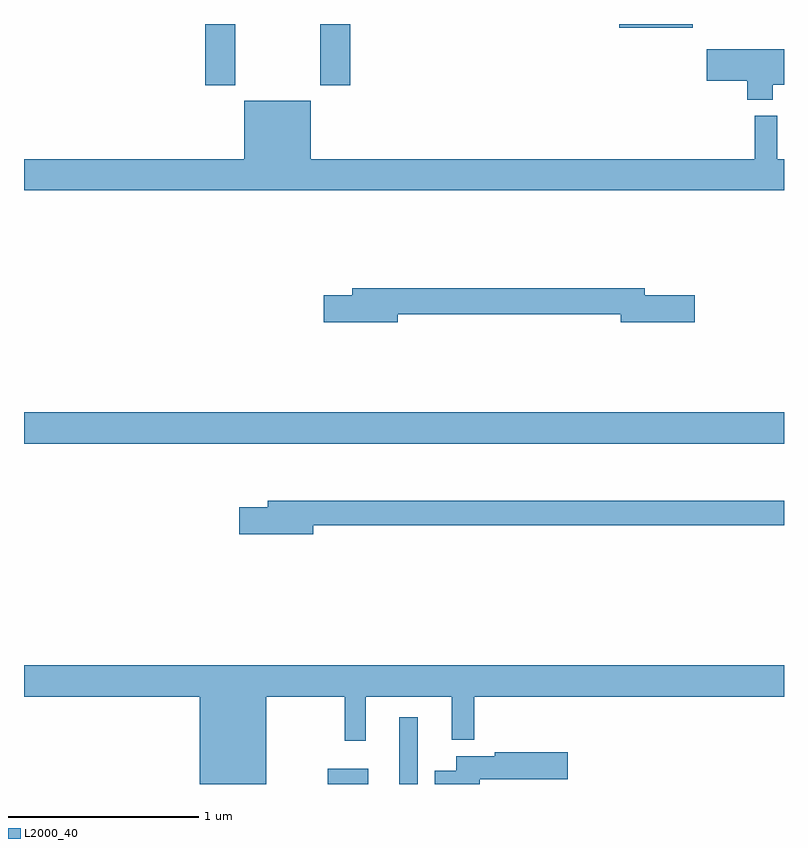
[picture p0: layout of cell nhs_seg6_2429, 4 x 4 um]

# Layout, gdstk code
import gdstk
lib = gdstk.Library(unit=1e-6, precision=1e-09)
def R(c, l, rs):  # rectangles x0, y0, x1, y1
    for r in rs: c.add(gdstk.rectangle(r[:2], r[2:], *l))
def P(c, l, *ps):  # polygons
    for p in ps: c.add(gdstk.Polygon(p, *l))
L2000_40 = (2000, 40)

nhs_seg6_2429 = lib.new_cell('nhs_seg6_2429')
R(nhs_seg6_2429, L2000_40, [(256.598,989.5,256.813,989.581), (256.976,989.5,257.073,989.851), (255,991.292,259,991.456), (255.953,993.177,256.113,993.5), (256.558,993.177,256.718,993.5), (258.132,993.479,258.52,993.5)])
P(nhs_seg6_2429, L2000_40, [(258.94,993.179),(259,993.179),(259,993.367),(258.594,993.367),(258.594,993.202),(258.806,993.202),(258.806,993.101),(258.94,993.101)],
  [(259,992.788),(258.965,992.788),(258.965,993.016),(258.847,993.016),(258.847,992.788),(256.51,992.788),(256.51,993.097),(256.16,993.097),(256.16,992.788),(255,992.788),(255,992.624),(259,992.624)],
  [(256.966,991.972),(258.14,991.972),(258.14,991.93),(258.529,991.93),(258.529,992.072),(258.268,992.072),(258.268,992.108),(256.727,992.108),(256.727,992.072),(256.578,992.072),(256.578,991.93),(256.966,991.93)],
  [(256.522,990.862),(259,990.862),(259,990.991),(256.283,990.991),(256.283,990.957),(256.134,990.957),(256.134,990.815),(256.522,990.815)],
  [(256.276,989.96),(256.689,989.96),(256.689,989.727),(256.799,989.727),(256.799,989.96),(257.252,989.96),(257.252,989.732),(257.369,989.732),(257.369,989.96),(259,989.96),(259,990.124),(255,990.124),(255,989.96),(255.926,989.96),(255.926,989.5),(256.276,989.5)],
  [(257.398,989.525),(257.863,989.525),(257.863,989.667),(257.478,989.667),(257.478,989.647),(257.276,989.647),(257.276,989.569),(257.162,989.569),(257.162,989.5),(257.398,989.5)])

lib.write_gds('nhs_seg6_2429.gds')
